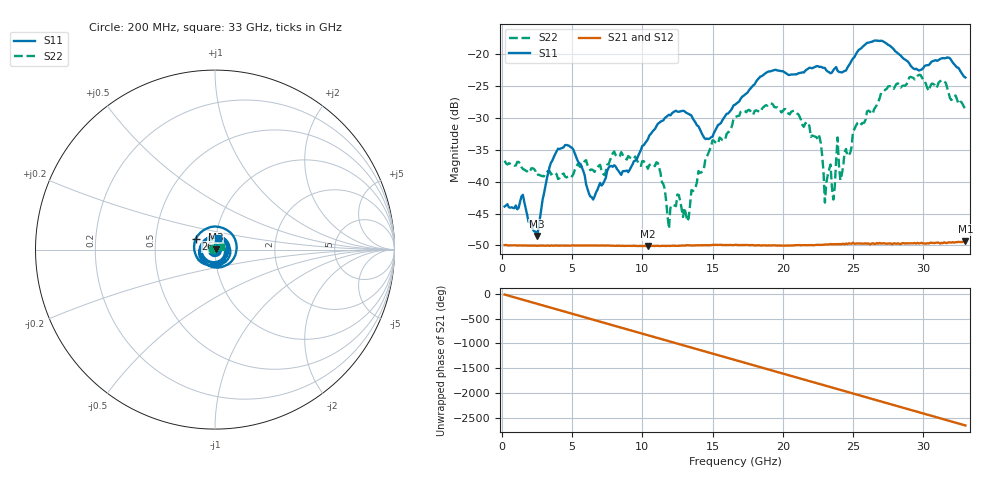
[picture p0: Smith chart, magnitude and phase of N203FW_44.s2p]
# GHZ S RI R 50
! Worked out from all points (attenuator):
!   329 points, 200 MHz to 33 GHz, reference 50 ohm
!   highest |S21| = -49.39 dB at 33 GHz (marker M1); lowest = -50.1 dB at 10.4 GHz (marker M2)
!   lowest |S11| = -48.5 dB at 2.5 GHz (marker M3), VSWR 1.01, Z = 50.3 + j0.16 ohm
!   |S11| at or under -10 dB: start of sweep to end of sweep
!   |S22| runs from -47.4 to -23.2 dB; largest |S21 - S12| = 8.8e-05
!   S11 on the Smith chart (normalised r, x): 200 MHz: 1.01, +0.00; 26 GHz: 0.80, +0.10; 33 GHz: 1.02, +0.13
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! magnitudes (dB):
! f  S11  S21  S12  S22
! 200 MHz  -43.9  -50.0  -49.9  -36.7
! 2.5 GHz  -48.5  -50.1  -50.0  -39.0
! 4 GHz  -34.8  -50.0  -50.0  -39.6
! 5.7 GHz  -37.7  -50.0  -50.0  -37.5
! 6.5 GHz  -42.8  -50.0  -50.0  -38.2
! 10.4 GHz  -33.3  -50.1  -50.1  -38.0
! 11.2 GHz  -30.7  -50.1  -50.1  -37.7
! 11.9 GHz  -29.5  -50.1  -50.0  -47.4
! 12.5 GHz  -29.0  -50.1  -50.1  -42.0
! 13.2 GHz  -29.2  -50.0  -50.0  -46.2
! 14.7 GHz  -33.3  -50.0  -49.9  -35.5
! 16.6 GHz  -27.9  -49.9  -49.9  -29.8
! 22.1 GHz  -22.2  -50.0  -49.9  -32.7
! 22.7 GHz  -21.9  -49.9  -49.9  -33.8
! 23 GHz  -22.1  -49.9  -49.9  -43.3
! 23.4 GHz  -23.0  -49.8  -49.8  -37.3
! 23.6 GHz  -22.5  -49.8  -49.8  -42.8
! 23.9 GHz  -22.6  -49.8  -49.8  -33.0
! 24.1 GHz  -22.8  -49.8  -49.8  -39.8
! 26 GHz  -18.2  -49.8  -49.7  -28.9
! 27.6 GHz  -18.6  -49.7  -49.7  -25.0
! 33 GHz  -23.6  -49.4  -49.4  -28.6
